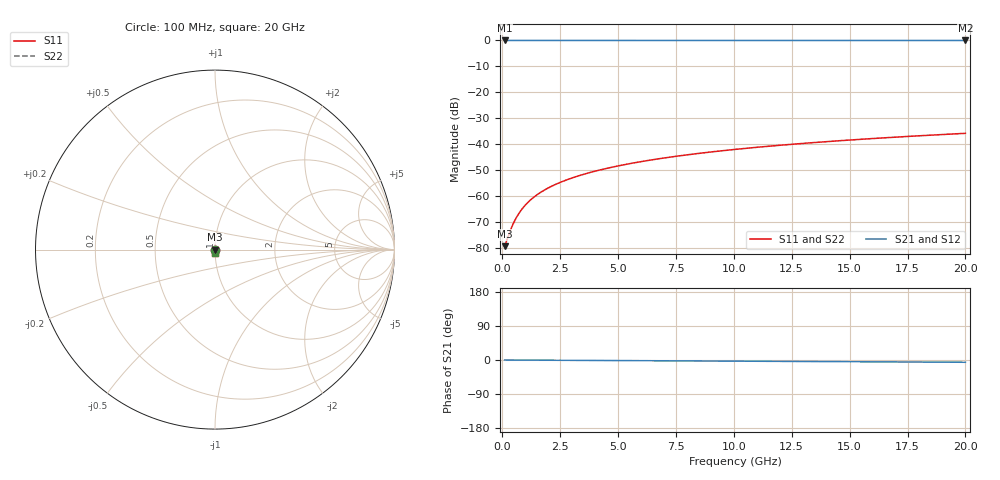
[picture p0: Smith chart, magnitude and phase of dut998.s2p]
! Touchstone file exported from HFSS 2026.1.0
!  File:  C:/ffzhzh/LocalFiles/Ansys_Project_Files/temp_train_TSV_998_1783188338_55132.aedt
!  Generated:  02:07:05 AM Jul  5, 2026
!  Design:  TSV
!  Project:  temp_train_TSV_998_1783188338_55132
! Variables:
!  h_bsmrdl = 2um
!  h_ox = 20um
!  h_rdl = 5um
!  h_sub = 58.9um
!  h_tmrdl = 5um
!  h_tsv = 58.9um
!  h_via = 3um
!  l_bsmrdl = 300um
!  l_sub = 420.94um
!  l_tmrdl = 200um
!  m_sub = 200um
!  pitch = 36.08um
!  r_tsv = 10.47um
!  s_tmrdl = 10um
!  w_bsmrdl = 18um
!  w_sub = 500um
!  w_tmrdl = 12um
!  x_tsv_center1 = 206um
!  x_tsv_center2 = 524um
!  x_tsv_center3 = 736um
!  x_tsv_center4 = 1054um
!  x_tsv_center5 = 1266um
!  x_tsv_center6 = 1584um
# GHz S MA R 50.000000
! Terminal data exported
! Port[1] = TSV1_1_T1
! Port[2] = TSV1_1_T2
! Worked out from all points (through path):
!   200 points, 100 MHz to 20 GHz, reference 50 ohm
!   highest |S21| = 0.00 dB at 100 MHz (marker M1); lowest = 0.0 dB at 20 GHz (marker M2)
!   lowest |S11| = -79.3 dB at 100 MHz (marker M3), VSWR 1.00, Z = 50 - j0.00451 ohm
!   |S11| at or under -10 dB: start of sweep to end of sweep
!   |S22| runs from -79.3 to -35.8 dB; largest |S21 - S12| = 4.6e-15
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0.1  0.0001085 -24.6  0.9999 -0.0  0.9999 -0.0  0.0001085 -24.6
! Gamma 0 0 0 0
! Port Impedance 50 0 50 0
0.3  0.0001918 -49.3  0.9999 -0.1  0.9999 -0.1  0.0001918 -49.3
0.4  0.0002489 -54.7  0.9999 -0.1  0.9999 -0.1  0.0002489 -54.7
0.5  0.0003124 -58.5  0.9998 -0.2  0.9998 -0.2  0.0003124 -58.5
0.6  0.0003805 -61.3  0.9998 -0.2  0.9998 -0.2  0.0003805 -61.3
0.7  0.0004518 -63.7  0.9998 -0.2  0.9998 -0.2  0.0004518 -63.7
0.9  0.0006002 -67.3  0.9998 -0.3  0.9998 -0.3  0.0006002 -67.3
1.2  0.0008296 -71.3  0.9997 -0.4  0.9997 -0.4  0.0008296 -71.3
1.4  0.0009841 -73.3  0.9997 -0.4  0.9997 -0.4  0.0009841 -73.3
1.6  0.001139 -74.9  0.9997 -0.5  0.9997 -0.5  0.001139 -74.9
2.1  0.001527 -77.7  0.9997 -0.6  0.9997 -0.6  0.001527 -77.7
2.7  0.001995 -79.9  0.9996 -0.8  0.9996 -0.8  0.001995 -79.9
3.5  0.002623 -81.7  0.9996 -1.1  0.9996 -1.1  0.002623 -81.7
4.2  0.003178 -82.9  0.9995 -1.3  0.9995 -1.3  0.003178 -82.9
5  0.003819 -83.9  0.9995 -1.5  0.9995 -1.5  0.003819 -83.9
5.9  0.004547 -84.8  0.9994 -1.8  0.9994 -1.8  0.004547 -84.8
6.8  0.00528 -85.5  0.9994 -2.1  0.9994 -2.1  0.00528 -85.5
8.3  0.006509 -86.6  0.9993 -2.5  0.9993 -2.5  0.006509 -86.6
10.1  0.007992 -87.8  0.9992 -3.0  0.9992 -3.0  0.007991 -87.8
13.4  0.01072 -89.5  0.9991 -4.0  0.9991 -4.0  0.01072 -89.5
16.7  0.01346 -91.0  0.999 -5.0  0.999 -5.0  0.01346 -91.0
20  0.01622 -92.3  0.9988 -6.0  0.9988 -6.0  0.01622 -92.3
